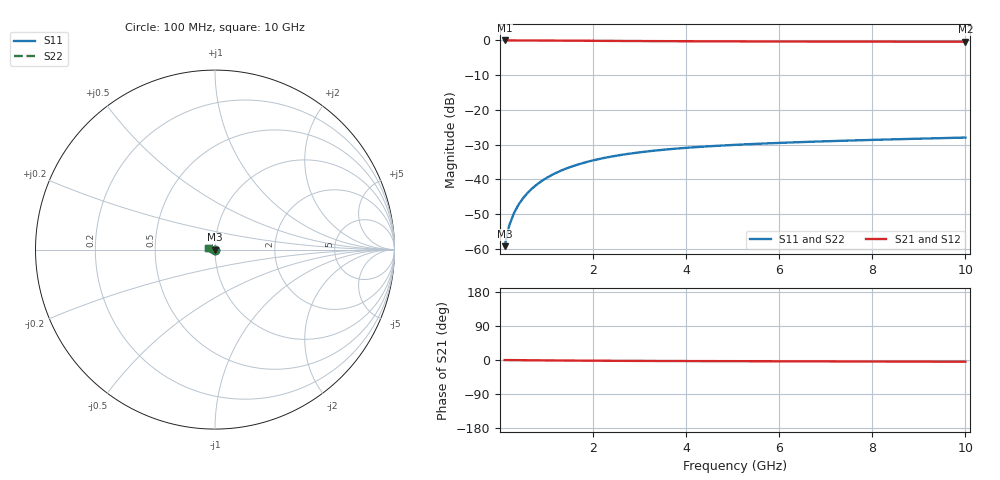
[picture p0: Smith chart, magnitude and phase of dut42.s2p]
! Touchstone file exported from HFSS 2024.1.0
!  File:  C:/UserFiles/LocalFiles/RDL_TSV_Batchsim/temp_TSV1_42_1779371267.aedt
!  Generated:  09:52:38 PM May 21, 2026
!  Design:  TSV1
!  Project:  temp_TSV1_42_1779371267
!  Setup:  Setup1
!  Solution:  Sweep
! Variables:
!  dtsv = 10.99um
!  hbump = 3um
!  htsv = 67.78um
!  lrdl = 252.1521522um
!  p = 40
!  p1 = 58.64um
!  t = 500um
!  trdl = 3um
!  wrdl = 24.89489489um
# GHz S MA R 50.000000
! Terminal data exported
! Port[1] = TSV22_T1
! Port[2] = TSV22_T2
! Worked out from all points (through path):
!   100 points, 100 MHz to 10 GHz, reference 50 ohm
!   highest |S21| = 0.00 dB at 100 MHz (marker M1); lowest = -0.4 dB at 10 GHz (marker M2)
!   lowest |S11| = -59.3 dB at 100 MHz (marker M3), VSWR 1.00, Z = 50 - j0.108 ohm
!   |S11| at or under -10 dB: start of sweep to end of sweep
!   |S22| runs from -59.3 to -28.0 dB; largest |S21 - S12| = 9.3e-15
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0.1  0.001084 -86.4  0.9998 -0.1  0.9998 -0.1  0.001084 -86.4
! Gamma 0 0 0 0
! Port Impedance 50 0 50 0
0.2  0.00216 -91.2  0.9997 -0.2  0.9997 -0.2  0.00216 -91.2
0.3  0.003236 -94.1  0.9995 -0.3  0.9995 -0.3  0.003236 -94.1
0.4  0.004306 -96.7  0.9992 -0.5  0.9992 -0.5  0.004306 -96.7
0.5  0.005367 -99.0  0.9989 -0.6  0.9989 -0.6  0.005367 -99.0
0.6  0.006414 -101.3  0.9984 -0.7  0.9984 -0.7  0.006414 -101.3
0.7  0.007445 -103.4  0.9979 -0.8  0.9979 -0.8  0.007445 -103.4
0.8  0.008458 -105.6  0.9974 -0.9  0.9974 -0.9  0.008458 -105.6
0.9  0.00945 -107.7  0.9968 -1.0  0.9968 -1.0  0.00945 -107.7
1.1  0.01136 -111.7  0.9955 -1.2  0.9955 -1.2  0.01136 -111.7
1.4  0.01404 -117.4  0.9932 -1.4  0.9932 -1.4  0.01404 -117.4
1.6  0.0157 -121.1  0.9916 -1.6  0.9916 -1.6  0.0157 -121.1
1.8  0.01724 -124.5  0.9899 -1.7  0.9899 -1.7  0.01724 -124.5
2.1  0.01935 -129.4  0.9874 -1.9  0.9874 -1.9  0.01935 -129.4
2.5  0.02181 -135.5  0.9841 -2.2  0.9841 -2.2  0.02181 -135.5
2.9  0.02392 -141.0  0.9811 -2.4  0.9811 -2.4  0.02392 -141.0
3.4  0.02614 -147.1  0.9777 -2.6  0.9777 -2.6  0.02614 -147.1
4.2  0.02896 -155.7  0.9731 -2.8  0.9731 -2.8  0.02896 -155.7
5.1  0.0314 -163.8  0.9692 -3.1  0.9692 -3.1  0.0314 -163.8
6.7  0.03469 -175.6  0.9643 -3.6  0.9643 -3.6  0.03469 -175.6
8.4  0.03748 174.5  0.9611 -4.1  0.9611 -4.1  0.03748 174.5
10  0.03986 166.6  0.959 -4.6  0.959 -4.6  0.03986 166.6
